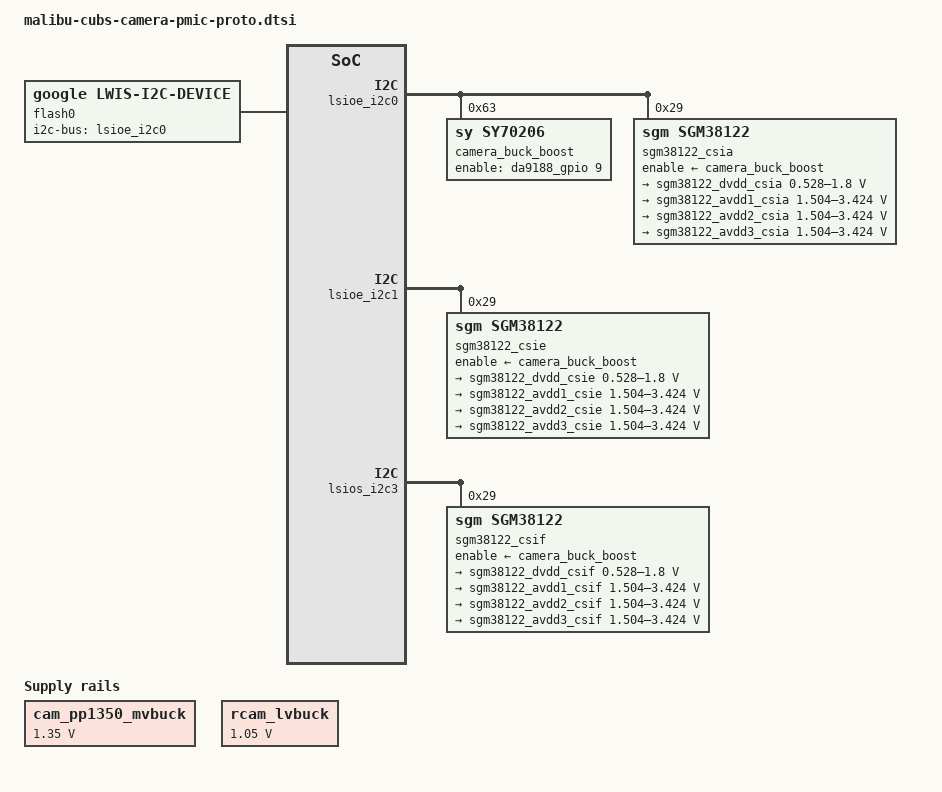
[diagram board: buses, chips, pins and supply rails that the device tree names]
// SPDX-License-Identifier: GPL-2.0-only
/*
 * camera PMIC device tree for MBU device
 *
 * Copyright 2025 Google LLC.
 *
 */

&ldo_22s_reg {
	/* b/418913720 - go/regulator-circular-dep */
	/* Workaround to avoid I2C issue when controller resume and suspend
	   outside of camera usage. */
	regulator-always-on;
};

/ {
	fragment@rcam_supply {
		target-path = "/";
		__overlay__ {
			/* SN62088AYFPR */
			cam_pp1350_mvbuck: cam_supply@0 {
				compatible = "regulator-fixed";
				status = "okay";
				regulator-name = "PP1350_CAM";
				regulator-min-microvolt = <1350000>;
				regulator-max-microvolt = <1350000>;
				/* 1.25ms */
				regulator-enable-ramp-delay = <1250>;
				enable-active-high;
				/* MVBUCK_EN */
				gpio = <PMICS2CAM_MVBUCK_EN(GPIO_ACTIVE_HIGH)>;
			};

			/* SN62088AYFPR */
			rcam_lvbuck: rcam_supply@0 {
				compatible = "regulator-fixed";
				status = "okay";
				regulator-name = "RCAM_VDIG";
				regulator-min-microvolt = <1050000>;
				regulator-max-microvolt = <1050000>;
				/* 1.25ms */
				regulator-enable-ramp-delay = <1250>;
				enable-active-high;
				/* VDIG_EN */
				gpio = <PMICM2RCAM_VDIG_EN(GPIO_ACTIVE_HIGH)>;
			};
		};
	};
};

&lsioe_i2c0 {
	#address-cells = <1>;
	#size-cells = <0>;
	camera_buck_boost: sy70206@63 {
		compatible = "sy,sy70206";
		reg = <0x63>;
		enable-gpios = <&da9188_gpio 9 GPIO_ACTIVE_HIGH>;
		status = "ok";
		regulator-name = "sy70206-regulator";
		regulator-min-microvolt = <3200000>;
		regulator-max-microvolt = <3200000>;
		regulator-always-on;
		/* REGULATOR_MODE_NORMAL (auto) */
		regulator-initial-mode = <0x2>;
		/* Allow for NORMAL (auto) and FAST (FPWM) mode */
		regulator-allowed-modes = <0x2>, <0x1>;
		google,disable-auto-headroom;
	};

	sgm38122_csia: sgm38122@29 {
		compatible = "sgm,sgm38122";
		reg = <0x29>;
		enable-supply = <&camera_buck_boost>;
		status = "ok";

		regulators {
			sgm38122_dvdd_csia: dvdd {
				regulator-name = "dvdd";
				regulator-min-microvolt = <528000>;
				regulator-max-microvolt = <1800000>;
				in1-supply = <&cam_pp1350_mvbuck>;
			};

			sgm38122_avdd1_csia: avdd1 {
				regulator-name = "avdd1";
				regulator-min-microvolt = <1504000>;
				regulator-max-microvolt = <3424000>;
				in2-supply = <&camera_buck_boost>;
			};

			sgm38122_avdd2_csia: avdd2 {
				regulator-name = "avdd2";
				regulator-min-microvolt = <1504000>;
				regulator-max-microvolt = <3424000>;
				in2-supply = <&camera_buck_boost>;
			};

			sgm38122_avdd3_csia: avdd3 {
				regulator-name = "avdd3";
				regulator-min-microvolt = <1504000>;
				regulator-max-microvolt = <3424000>;
				in3-supply = <&camera_buck_boost>;
			};
		};
	};
};

/ {
	fragment@lwiscamera {
		target-path = "/";
		__overlay__ {
			flash0: flash@0 {
				compatible = "google,lwis-i2c-device";

				/* Device node name */
				node-name = "flash-sy70206";

				/* I2C */
				i2c-bus = <&lsioe_i2c0>;
				i2c-addr = <0x63>;

				/* Registers */
				reg-addr-bitwidth = <8>;
				reg-value-bitwidth = <8>;

				/* Sequencer sources */
				sequencer-sources = <&camera_base_pwrseq>;

				power-up-seqs =
					"camera_base";
				power-up-seq-types =
					"pwrseq";
				power-up-seq-delays-us =
					<0>;

				power-down-seqs =
					"camera_base";
				power-down-seq-types =
					"pwrseq";
				power-down-seq-delays-us =
					<0>;
			};
		};
	};
};

&lsioe_i2c1 {
	#address-cells = <1>;
	#size-cells = <0>;

	sgm38122_csie: sgm38122@29 {
		compatible = "sgm,sgm38122";
		reg = <0x29>;
		enable-supply = <&camera_buck_boost>;
		status = "ok";

		regulators {
			sgm38122_dvdd_csie: dvdd {
				regulator-name = "dvdd";
				regulator-min-microvolt = <528000>;
				regulator-max-microvolt = <1800000>;
				in1-supply = <&cam_pp1350_mvbuck>;
			};

			sgm38122_avdd1_csie: avdd1 {
				regulator-name = "avdd1";
				regulator-min-microvolt = <1504000>;
				regulator-max-microvolt = <3424000>;
				in2-supply = <&camera_buck_boost>;
			};

			sgm38122_avdd2_csie: avdd2 {
				regulator-name = "avdd2";
				regulator-min-microvolt = <1504000>;
				regulator-max-microvolt = <3424000>;
				in2-supply = <&camera_buck_boost>;
			};

			sgm38122_avdd3_csie: avdd3 {
				regulator-name = "avdd3";
				regulator-min-microvolt = <1504000>;
				regulator-max-microvolt = <3424000>;
			};
		};
	};
};

&lsios_i2c3 {
	#address-cells = <1>;
	#size-cells = <0>;

	sgm38122_csif: sgm38122@29 {
		compatible = "sgm,sgm38122";
		reg = <0x29>;
		enable-supply = <&camera_buck_boost>;
		status = "ok";

		regulators {
			sgm38122_dvdd_csif: dvdd {
				regulator-name = "dvdd";
				regulator-min-microvolt = <528000>;
				regulator-max-microvolt = <1800000>;
				in1-supply = <&cam_pp1350_mvbuck>;
			};

			sgm38122_avdd1_csif: avdd1 {
				regulator-name = "avdd1";
				regulator-min-microvolt = <1504000>;
				regulator-max-microvolt = <3424000>;
				in2-supply = <&camera_buck_boost>;
			};

			sgm38122_avdd2_csif: avdd2 {
				regulator-name = "avdd2";
				regulator-min-microvolt = <1504000>;
				regulator-max-microvolt = <3424000>;
				in2-supply = <&camera_buck_boost>;
			};

			sgm38122_avdd3_csif: avdd3 {
				regulator-name = "avdd3";
				regulator-min-microvolt = <1504000>;
				regulator-max-microvolt = <3424000>;
				in3-supply = <&camera_buck_boost>;
			};
		};
	};
};
